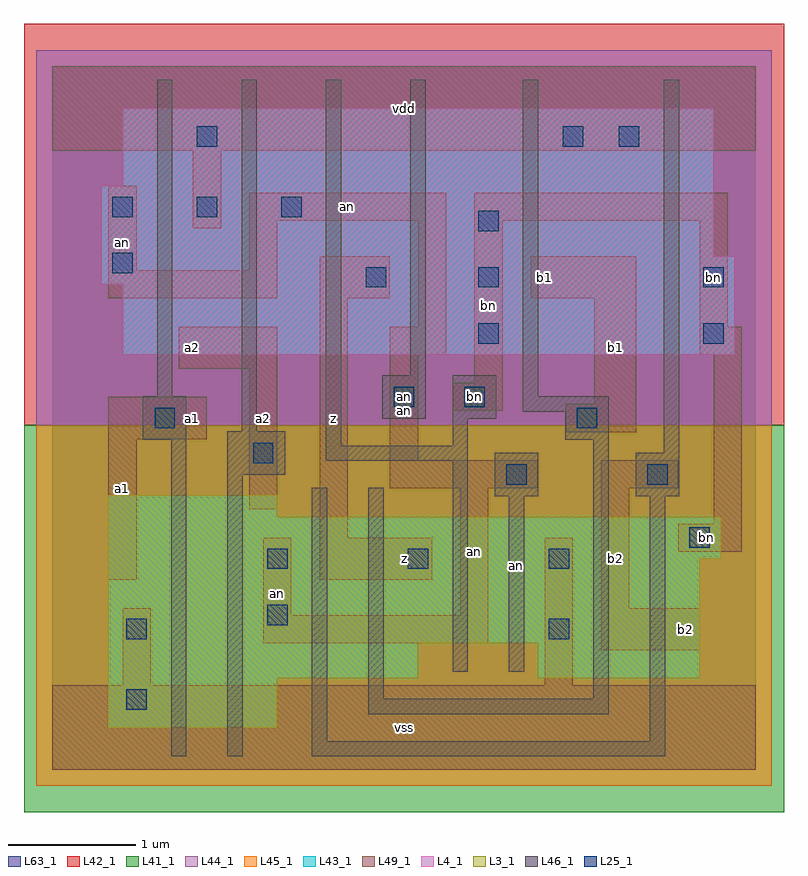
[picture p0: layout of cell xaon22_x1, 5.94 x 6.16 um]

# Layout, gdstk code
import gdstk
lib = gdstk.Library(unit=1e-6, precision=1e-09)
def R(c, l, rs):  # rectangles x0, y0, x1, y1
    for r in rs: c.add(gdstk.rectangle(r[:2], r[2:], *l))
def A(c, l, x, y, w, h, nx, ny, dx, dy):  # array of equal rectangles
    R(c, l, [(x+i*dx, y+j*dy, x+i*dx+w, y+j*dy+h) for i in range(nx) for j in range(ny)])
L3_1 = (3, 1)
L4_1 = (4, 1)
L25_1 = (25, 1)
L41_1 = (41, 1)
L42_1 = (42, 1)
L43_1 = (43, 1)
L44_1 = (44, 1)
L45_1 = (45, 1)
L46_1 = (46, 1)
L49_1 = (49, 1)
L63_1 = (63, 1)

xaon22_x1 = lib.new_cell('xaon22_x1')
R(xaon22_x1, L3_1, [(0.44,0.33,1.76,0.715), (0.44,0.715,2.86,0.99), (3.795,0.715,5.06,0.99), (0.44,0.99,5.06,1.65), (0.44,1.65,5.225,1.98), (0.44,1.98,1.76,2.145)])
R(xaon22_x1, L4_1, [(0.55,3.245,5.335,3.795), (0.385,3.795,5.335,4.015), (0.385,4.015,5.17,4.565), (0.55,4.565,5.17,5.17)])
A(xaon22_x1, L25_1, 1.68, 1.57, 0.16, 0.16, 3, 1, 1.1, 0)
A(xaon22_x1, L25_1, 3.33, 3.33, 0.16, 0.16, 1, 3, 0, 0.44)
A(xaon22_x1, L25_1, 0.47, 4.32, 0.16, 0.16, 3, 1, 0.66, 0)
R(xaon22_x1, L25_1, [(0.58,0.47,0.74,0.63), (0.58,1.02,0.74,1.18), (3.88,1.02,4.04,1.18), (1.68,1.13,1.84,1.29), (4.98,1.735,5.14,1.895), (3.55,2.23,3.71,2.39), (4.65,2.23,4.81,2.39), (1.57,2.395,1.73,2.555), (0.8,2.67,0.96,2.83), (4.1,2.67,4.26,2.83), (2.67,2.835,2.83,2.995), (3.22,2.835,3.38,2.995), (5.09,3.33,5.25,3.49), (2.45,3.77,2.61,3.93), (5.09,3.77,5.25,3.93), (0.47,3.88,0.63,4.04), (1.13,4.87,1.29,5.03), (3.99,4.87,4.15,5.03), (4.43,4.87,4.59,5.03)])
R(xaon22_x1, L41_1, [(-0.22,-0.33,5.72,2.695)])
R(xaon22_x1, L42_1, [(-0.22,2.695,5.72,5.83)])
R(xaon22_x1, L43_1, [(0.44,0.33,1.76,0.715), (0.44,0.715,2.86,0.99), (3.795,0.715,5.06,0.99), (0.44,0.99,5.06,1.65), (0.44,1.65,5.225,1.98), (0.44,1.98,1.76,2.145), (0.55,3.245,5.335,3.795), (0.385,3.795,5.335,4.015), (0.385,4.015,5.17,4.565), (0.55,4.565,5.17,5.17)])
R(xaon22_x1, L44_1, [(-0.125,2.695,5.625,5.625)])
R(xaon22_x1, L45_1, [(-0.125,-0.125,5.625,2.695)])
R(xaon22_x1, L46_1, [(0.93,0.105,1.05,2.58), (1.37,0.105,1.49,2.305), (2.03,0.105,4.79,0.225), (2.03,0.225,2.15,2.205), (4.67,0.225,4.79,2.14), (2.47,0.435,4.35,0.555), (2.47,0.555,2.59,2.205), (4.23,0.555,4.35,2.58), (3.13,0.765,3.25,2.415), (3.57,0.765,3.69,2.14), (3.46,2.14,3.8,2.48), (4.56,2.14,4.9,2.48), (1.37,2.305,1.82,2.645), (2.14,2.415,3.25,2.535), (4.78,2.48,4.9,5.395), (2.14,2.535,2.26,5.395), (3.13,2.535,3.25,2.745), (0.71,2.58,1.05,2.92), (4.01,2.58,4.35,2.8), (1.48,2.645,1.6,5.395), (2.58,2.745,2.92,3.085), (3.13,2.745,3.47,3.085), (3.68,2.8,4.35,2.92), (0.82,2.92,0.94,5.395), (3.68,2.92,3.8,5.395), (2.8,3.085,2.92,5.395)])
R(xaon22_x1, L49_1, [(0,0,5.5,0.66), (0.55,0.66,0.77,1.265), (3.85,0.66,4.07,1.815), (4.29,0.935,5.06,1.265), (1.65,0.99,3.41,1.21), (1.65,1.21,1.87,1.815), (3.19,1.21,3.41,2.2), (4.29,1.265,4.51,2.2), (0.44,1.485,0.66,2.585), (2.09,1.485,2.97,1.815), (4.895,1.705,5.39,1.925), (2.09,1.815,2.31,3.685), (5.17,1.925,5.39,3.245), (1.54,2.035,1.76,3.135), (2.64,2.2,3.795,2.42), (4.29,2.2,4.895,2.42), (2.64,2.42,2.86,3.245), (0.44,2.585,1.21,2.915), (4.015,2.64,4.565,2.86), (3.135,2.805,3.52,3.025), (4.235,2.86,4.565,3.685), (3.3,3.025,3.52,4.29), (0.99,3.135,1.76,3.465), (2.64,3.245,3.08,3.465), (5.06,3.245,5.39,3.465), (2.86,3.465,3.08,4.29), (5.06,3.465,5.28,4.29), (0.44,3.685,1.76,3.905), (2.09,3.685,2.64,4.015), (3.74,3.685,4.565,4.015), (0.44,3.905,0.66,4.565), (1.54,3.905,1.76,4.29), (1.1,4.235,1.32,4.84), (1.54,4.29,3.08,4.51), (3.3,4.29,5.28,4.51), (0,4.84,5.5,5.5)])
R(xaon22_x1, L63_1, [(0,0,5.5,5.5)])
xaon22_x1.add(gdstk.Label('an', (3.63,1.595), layer=46, texttype=1))
xaon22_x1.add(gdstk.Label('bn', (3.3,2.915), layer=49, texttype=1))
xaon22_x1.add(gdstk.Label('an', (2.75,2.915), layer=49, texttype=1))
xaon22_x1.add(gdstk.Label('a1', (0.55,2.2), layer=49, texttype=1))
xaon22_x1.add(gdstk.Label('a1', (0.55,2.2), layer=49, texttype=1))
xaon22_x1.add(gdstk.Label('an', (0.55,4.125), layer=49, texttype=1))
xaon22_x1.add(gdstk.Label('an', (1.76,1.375), layer=49, texttype=1))
xaon22_x1.add(gdstk.Label('a1', (1.1,2.75), layer=49, texttype=1))
xaon22_x1.add(gdstk.Label('a1', (1.1,2.75), layer=49, texttype=1))
xaon22_x1.add(gdstk.Label('a2', (1.65,2.75), layer=49, texttype=1))
xaon22_x1.add(gdstk.Label('a2', (1.65,2.75), layer=49, texttype=1))
xaon22_x1.add(gdstk.Label('a2', (1.1,3.3), layer=49, texttype=1))
xaon22_x1.add(gdstk.Label('a2', (1.1,3.3), layer=49, texttype=1))
xaon22_x1.add(gdstk.Label('vss', (2.75,0.33), layer=49, texttype=1))
xaon22_x1.add(gdstk.Label('vss', (2.75,0.33), layer=49, texttype=1))
xaon22_x1.add(gdstk.Label('z', (2.75,1.65), layer=49, texttype=1))
xaon22_x1.add(gdstk.Label('z', (2.75,1.65), layer=49, texttype=1))
xaon22_x1.add(gdstk.Label('z', (2.2,2.75), layer=49, texttype=1))
xaon22_x1.add(gdstk.Label('z', (2.2,2.75), layer=49, texttype=1))
xaon22_x1.add(gdstk.Label('an', (2.75,2.805), layer=49, texttype=1))
xaon22_x1.add(gdstk.Label('an', (2.31,4.4), layer=49, texttype=1))
xaon22_x1.add(gdstk.Label('vdd', (2.75,5.17), layer=49, texttype=1))
xaon22_x1.add(gdstk.Label('vdd', (2.75,5.17), layer=49, texttype=1))
xaon22_x1.add(gdstk.Label('an', (3.3,1.705), layer=49, texttype=1))
xaon22_x1.add(gdstk.Label('b1', (3.85,3.85), layer=49, texttype=1))
xaon22_x1.add(gdstk.Label('b1', (3.85,3.85), layer=49, texttype=1))
xaon22_x1.add(gdstk.Label('bn', (3.41,3.63), layer=49, texttype=1))
xaon22_x1.add(gdstk.Label('b2', (4.95,1.1), layer=49, texttype=1))
xaon22_x1.add(gdstk.Label('b2', (4.95,1.1), layer=49, texttype=1))
xaon22_x1.add(gdstk.Label('b2', (4.4,1.65), layer=49, texttype=1))
xaon22_x1.add(gdstk.Label('b2', (4.4,1.65), layer=49, texttype=1))
xaon22_x1.add(gdstk.Label('bn', (5.115,1.815), layer=49, texttype=1))
xaon22_x1.add(gdstk.Label('b1', (4.4,3.3), layer=49, texttype=1))
xaon22_x1.add(gdstk.Label('b1', (4.4,3.3), layer=49, texttype=1))
xaon22_x1.add(gdstk.Label('bn', (5.17,3.85), layer=49, texttype=1))

lib.write_gds('xaon22_x1.gds')
